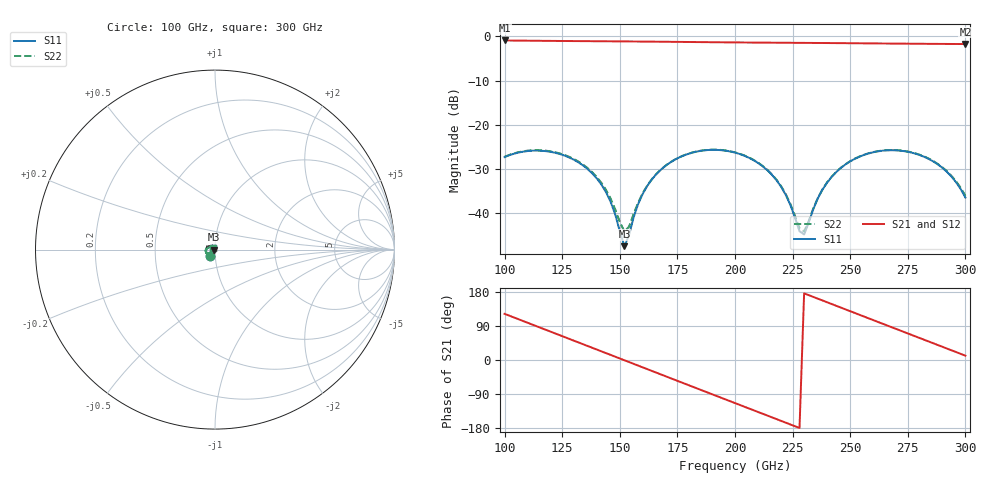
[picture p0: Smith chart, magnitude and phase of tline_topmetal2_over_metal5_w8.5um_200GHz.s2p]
#  GHZ S DB R 50
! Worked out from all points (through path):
!   101 points, 100 GHz to 300 GHz, reference 50 ohm
!   highest |S21| = -0.92 dB at 100 GHz (marker M1); lowest = -1.7 dB at 300 GHz (marker M2)
!   group delay of S21, straight-line fit = 6.53 ps
!   lowest |S11| = -47.4 dB at 152 GHz (marker M3), VSWR 1.01, Z = 49.6 - j0.0805 ohm
!   |S11| at or under -10 dB: start of sweep to end of sweep
!   |S22| runs from -44.1 to -25.6 dB; largest |S21 - S12| = 1.5e-13
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100  -27.30 -127.2  -0.92 121.8  -0.92 121.8  -27.22 -126.4
116  -25.87 -164.5  -1.00 84.1  -1.00 84.1  -25.76 -162.9
134  -29.17 155.8  -1.07 41.7  -1.07 41.7  -28.97 158.9
144  -35.21 139.5  -1.11 18.2  -1.11 18.2  -34.71 145.6
152  -47.44 -169.0  -1.14 -0.7  -1.14 -0.7  -44.10 -170.2
160  -35.55 -106.5  -1.17 -19.6  -1.17 -19.6  -35.39 -112.3
168  -30.07 -118.1  -1.21 -38.5  -1.21 -38.5  -30.03 -120.6
184  -25.99 -151.8  -1.29 -76.1  -1.29 -76.1  -25.95 -152.3
200  -26.28 173.4  -1.36 -113.7  -1.36 -113.7  -26.23 173.7
210  -28.62 153.0  -1.40 -137.2  -1.40 -137.2  -28.55 153.7
218  -32.52 139.9  -1.43 -155.9  -1.43 -155.9  -32.40 141.3
224  -38.09 139.4  -1.45 -170.0  -1.45 -170.0  -37.83 141.5
228  -44.05 166.9  -1.46 -179.4  -1.46 -179.4  -43.37 168.4
230  -44.79 -157.1  -1.47 175.8  -1.47 175.8  -44.12 -158.7
234  -39.04 -119.8  -1.48 166.4  -1.48 166.4  -38.89 -121.5
240  -33.04 -117.7  -1.50 152.3  -1.50 152.3  -33.00 -118.1
248  -28.93 -129.9  -1.54 133.5  -1.54 133.5  -28.90 -129.6
258  -26.47 -149.5  -1.58 110.0  -1.58 110.0  -26.43 -148.7
268  -25.74 -170.1  -1.62 86.5  -1.62 86.5  -25.69 -169.0
286  -28.27 154.0  -1.69 44.3  -1.69 44.3  -28.17 156.1
294  -31.73 141.7  -1.72 25.5  -1.72 25.5  -31.56 144.7
300  -36.45 140.4  -1.73 11.4  -1.73 11.4  -36.04 144.8
